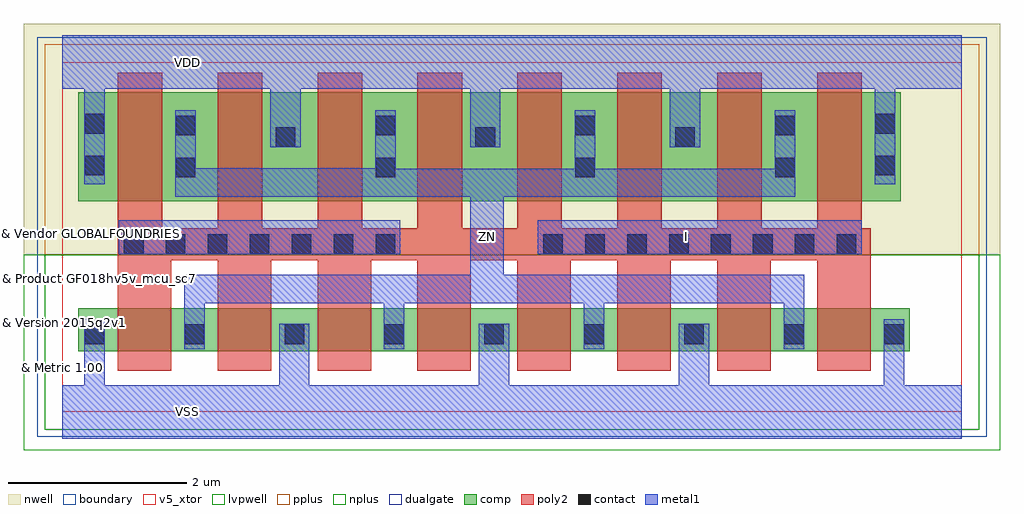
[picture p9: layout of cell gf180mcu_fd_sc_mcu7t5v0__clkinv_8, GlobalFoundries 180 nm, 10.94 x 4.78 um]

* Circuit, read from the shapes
.subckt gf180mcu_fd_sc_mcu7t5v0__clkinv_8 I VDD VSS ZN
XM1 ZN I VSS VSUBS nfet_05v0 w=0.48u l=0.6u m=8
XM2 ZN I VDD n1 pfet_05v0 w=1.22u l=0.5u m=8
.ends

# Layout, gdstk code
import gdstk
lib = gdstk.Library(unit=1e-6, precision=1e-09)
def R(c, l, rs):  # rectangles x0, y0, x1, y1
    for r in rs: c.add(gdstk.rectangle(r[:2], r[2:], *l))
def A(c, l, x, y, w, h, nx, ny, dx, dy):  # array of equal rectangles
    R(c, l, [(x+i*dx, y+j*dy, x+i*dx+w, y+j*dy+h) for i in range(nx) for j in range(ny)])
def P(c, l, *ps):  # polygons
    for p in ps: c.add(gdstk.Polygon(p, *l))
boundary = (0, 0)
nwell = (21, 0)
comp = (22, 0)
poly2 = (30, 0)
pplus = (31, 0)
nplus = (32, 0)
contact = (33, 0)
metal1 = (34, 0)
dualgate = (55, 0)
v5_xtor = (112, 1)
lvpwell = (204, 0)

gf180mcu_fd_sc_mcu7t5v0_ = lib.new_cell('gf180mcu_fd_sc_mcu7t5v0__clkinv_8')
R(gf180mcu_fd_sc_mcu7t5v0_, boundary, [(0,0,10.08,3.92)])
R(gf180mcu_fd_sc_mcu7t5v0_, nwell, [(-0.43,1.76,10.51,4.35)])
R(gf180mcu_fd_sc_mcu7t5v0_, comp, [(0.18,0.68,9.5,1.16), (0.18,2.36,9.4,3.58)])
P(gf180mcu_fd_sc_mcu7t5v0_, poly2, [(0.62,0.46),(0.62,3.8),(1.12,3.8),(1.12,2.06),(1.74,2.06),(1.74,3.8),(2.24,3.8),(2.24,2.06),(2.86,2.06),(2.86,3.8),(3.36,3.8),(3.36,2.06),(3.98,2.06),(3.98,3.8),(4.48,3.8),(4.48,2.06),(5.1,2.06),(5.1,3.8),(5.6,3.8),(5.6,2.06),(6.22,2.06),(6.22,3.8),(6.72,3.8),(6.72,2.06),(7.34,2.06),(7.34,3.8),(7.84,3.8),(7.84,2.06),(8.46,2.06),(8.46,3.8),(8.96,3.8),(8.96,2.06),(9.06,2.06),(9.06,0.46),(8.46,0.46),(8.46,1.7),(7.94,1.7),(7.94,0.46),(7.34,0.46),(7.34,1.7),(6.82,1.7),(6.82,0.46),(6.22,0.46),(6.22,1.7),(5.7,1.7),(5.7,0.46),(5.1,0.46),(5.1,1.7),(4.58,1.7),(4.58,0.46),(3.98,0.46),(3.98,1.7),(3.46,1.7),(3.46,0.46),(2.86,0.46),(2.86,1.7),(2.34,1.7),(2.34,0.46),(1.74,0.46),(1.74,1.7),(1.22,1.7),(1.22,0.46)])
R(gf180mcu_fd_sc_mcu7t5v0_, pplus, [(-0.2,1.76,10.28,4.12)])
R(gf180mcu_fd_sc_mcu7t5v0_, nplus, [(-0.2,-0.2,10.28,1.76)])
A(gf180mcu_fd_sc_mcu7t5v0_, contact, 0.25, 0.76, 0.22, 0.22, 9, 1, 1.12, 0)
A(gf180mcu_fd_sc_mcu7t5v0_, contact, 0.69, 1.77, 0.22, 0.22, 7, 1, 0.47, 0)
A(gf180mcu_fd_sc_mcu7t5v0_, contact, 5.39, 1.77, 0.22, 0.22, 8, 1, 0.47, 0)
A(gf180mcu_fd_sc_mcu7t5v0_, contact, 1.27, 2.63, 0.22, 0.22, 4, 2, 2.24, 0.47)
A(gf180mcu_fd_sc_mcu7t5v0_, contact, 2.39, 2.97, 0.22, 0.22, 3, 1, 2.24, 0)
R(gf180mcu_fd_sc_mcu7t5v0_, contact, [(0.25,2.65,0.47,2.87), (9.11,2.65,9.33,2.87), (0.25,3.12,0.47,3.34), (9.11,3.12,9.33,3.34)])
R(gf180mcu_fd_sc_mcu7t5v0_, metal1, [(0.63,1.765,3.79,2.15), (5.33,1.765,8.96,2.15)])
P(gf180mcu_fd_sc_mcu7t5v0_, metal1, [(0.245,2.55),(0.245,3.62),(0,3.62),(0,4.22),(10.08,4.22),(10.08,3.62),(9.335,3.62),(9.335,2.55),(9.105,2.55),(9.105,3.62),(7.15,3.62),(7.15,2.965),(6.81,2.965),(6.81,3.62),(4.91,3.62),(4.91,2.965),(4.57,2.965),(4.57,3.62),(2.67,3.62),(2.67,2.965),(2.33,2.965),(2.33,3.62),(0.475,3.62),(0.475,2.55)],
  [(0,-0.3),(0,0.3),(0.245,0.3),(0.245,1.04),(0.475,1.04),(0.475,0.3),(2.43,0.3),(2.43,0.985),(2.77,0.985),(2.77,0.3),(4.67,0.3),(4.67,0.985),(5.01,0.985),(5.01,0.3),(6.91,0.3),(6.91,0.985),(7.25,0.985),(7.25,0.3),(9.205,0.3),(9.205,1.04),(9.435,1.04),(9.435,0.3),(10.08,0.3),(10.08,-0.3)],
  [(1.365,0.7),(1.365,1.535),(4.57,1.535),(4.57,2.41),(1.265,2.41),(1.265,3.38),(1.495,3.38),(1.495,2.73),(3.505,2.73),(3.505,3.38),(3.735,3.38),(3.735,2.725),(5.745,2.725),(5.745,3.38),(5.975,3.38),(5.975,2.725),(7.985,2.725),(7.985,3.38),(8.215,3.38),(8.215,2.41),(4.95,2.41),(4.95,1.535),(8.315,1.535),(8.315,0.7),(8.085,0.7),(8.085,1.215),(6.075,1.215),(6.075,0.7),(5.845,0.7),(5.845,1.215),(3.835,1.215),(3.835,0.7),(3.605,0.7),(3.605,1.215),(1.595,1.215),(1.595,0.7)])
R(gf180mcu_fd_sc_mcu7t5v0_, dualgate, [(-0.28,-0.28,10.36,4.2)])
R(gf180mcu_fd_sc_mcu7t5v0_, v5_xtor, [(0,0,10.08,3.92)])
R(gf180mcu_fd_sc_mcu7t5v0_, lvpwell, [(-0.43,-0.43,10.51,1.76)])
gf180mcu_fd_sc_mcu7t5v0_.add(gdstk.Label('I', (7,1.96), layer=34, texttype=10))
gf180mcu_fd_sc_mcu7t5v0_.add(gdstk.Label('ZN', (4.76,1.96), layer=34, texttype=10))
gf180mcu_fd_sc_mcu7t5v0_.add(gdstk.Label('VSS', (1.4,0), layer=34, texttype=10))
gf180mcu_fd_sc_mcu7t5v0_.add(gdstk.Label('VDD', (1.4,3.92), layer=34, texttype=10))
gf180mcu_fd_sc_mcu7t5v0_.add(gdstk.Label('& Metric 1.00', (0,0.5), layer=63, texttype=63))
gf180mcu_fd_sc_mcu7t5v0_.add(gdstk.Label('& Version 2015q2v1', (0,1), layer=63, texttype=63))
gf180mcu_fd_sc_mcu7t5v0_.add(gdstk.Label('& Product GF018hv5v_mcu_sc7', (0,1.5), layer=63, texttype=63))
gf180mcu_fd_sc_mcu7t5v0_.add(gdstk.Label('& Vendor GLOBALFOUNDRIES', (0,2), layer=63, texttype=63))

lib.write_gds('gf180mcu_fd_sc_mcu7t5v0__clkinv_8.gds')
